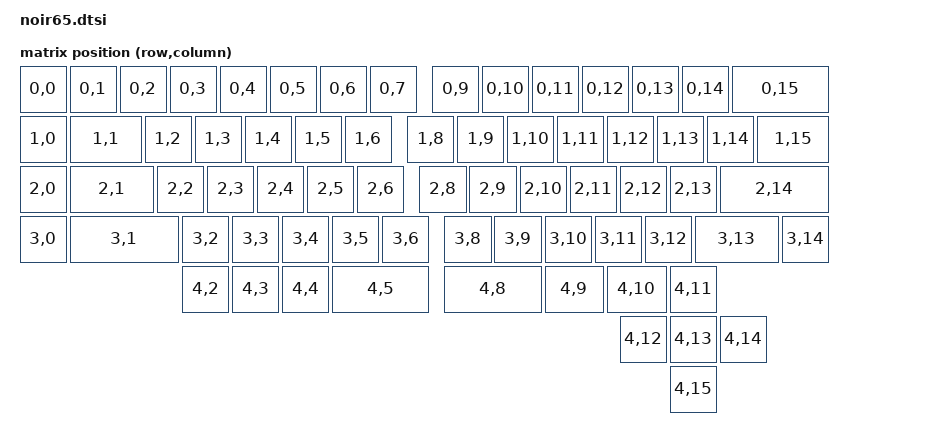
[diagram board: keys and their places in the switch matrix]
/*
 * Copyright (c) 2020 Noir Guo
 *
 * SPDX-License-Identifier: MIT
 */

#include <dt-bindings/zmk/matrix_transform.h>
#include <physical_layouts.dtsi>

/ {
    noir65_layout: noir65_layout {
        compatible = "zmk,physical-layout";
        display-name = "Noir65";

        kscan = <&kscan0>;
        transform = <&matrix_transform0>;

        keys  //                     w   h    x    y     rot    rx    ry
            = <&key_physical_attrs 100 100    0    0       0     0     0>
            , <&key_physical_attrs 100 100  100    0       0     0     0>
            , <&key_physical_attrs 100 100  200    0       0     0     0>
            , <&key_physical_attrs 100 100  300    0       0     0     0>
            , <&key_physical_attrs 100 100  400    0       0     0     0>
            , <&key_physical_attrs 100 100  500    0       0     0     0>
            , <&key_physical_attrs 100 100  600    0       0     0     0>
            , <&key_physical_attrs 100 100  700    0       0     0     0>
            , <&key_physical_attrs 100 100  825    0       0     0     0>
            , <&key_physical_attrs 100 100  925    0       0     0     0>
            , <&key_physical_attrs 100 100 1025    0       0     0     0>
            , <&key_physical_attrs 100 100 1125    0       0     0     0>
            , <&key_physical_attrs 100 100 1225    0       0     0     0>
            , <&key_physical_attrs 100 100 1325    0       0     0     0>
            , <&key_physical_attrs 200 100 1425    0       0     0     0>
            , <&key_physical_attrs 100 100    0  100       0     0     0>
            , <&key_physical_attrs 150 100  100  100       0     0     0>
            , <&key_physical_attrs 100 100  250  100       0     0     0>
            , <&key_physical_attrs 100 100  350  100       0     0     0>
            , <&key_physical_attrs 100 100  450  100       0     0     0>
            , <&key_physical_attrs 100 100  550  100       0     0     0>
            , <&key_physical_attrs 100 100  650  100       0     0     0>
            , <&key_physical_attrs 100 100  775  100       0     0     0>
            , <&key_physical_attrs 100 100  875  100       0     0     0>
            , <&key_physical_attrs 100 100  975  100       0     0     0>
            , <&key_physical_attrs 100 100 1075  100       0     0     0>
            , <&key_physical_attrs 100 100 1175  100       0     0     0>
            , <&key_physical_attrs 100 100 1275  100       0     0     0>
            , <&key_physical_attrs 100 100 1375  100       0     0     0>
            , <&key_physical_attrs 150 100 1475  100       0     0     0>
            , <&key_physical_attrs 100 100    0  200       0     0     0>
            , <&key_physical_attrs 175 100  100  200       0     0     0>
            , <&key_physical_attrs 100 100  275  200       0     0     0>
            , <&key_physical_attrs 100 100  375  200       0     0     0>
            , <&key_physical_attrs 100 100  475  200       0     0     0>
            , <&key_physical_attrs 100 100  575  200       0     0     0>
            , <&key_physical_attrs 100 100  675  200       0     0     0>
            , <&key_physical_attrs 100 100  800  200       0     0     0>
            , <&key_physical_attrs 100 100  900  200       0     0     0>
            , <&key_physical_attrs 100 100 1000  200       0     0     0>
            , <&key_physical_attrs 100 100 1100  200       0     0     0>
            , <&key_physical_attrs 100 100 1200  200       0     0     0>
            , <&key_physical_attrs 100 100 1300  200       0     0     0>
            , <&key_physical_attrs 225 100 1400  200       0     0     0>
            , <&key_physical_attrs 100 100    0  300       0     0     0>
            , <&key_physical_attrs 225 100  100  300       0     0     0>
            , <&key_physical_attrs 100 100  325  300       0     0     0>
            , <&key_physical_attrs 100 100  425  300       0     0     0>
            , <&key_physical_attrs 100 100  525  300       0     0     0>
            , <&key_physical_attrs 100 100  625  300       0     0     0>
            , <&key_physical_attrs 100 100  725  300       0     0     0>
            , <&key_physical_attrs 100 100  850  300       0     0     0>
            , <&key_physical_attrs 100 100  950  300       0     0     0>
            , <&key_physical_attrs 100 100 1050  300       0     0     0>
            , <&key_physical_attrs 100 100 1150  300       0     0     0>
            , <&key_physical_attrs 100 100 1250  300       0     0     0>
            , <&key_physical_attrs 175 100 1350  300       0     0     0>
            , <&key_physical_attrs 100 100 1525  300       0     0     0>
            , <&key_physical_attrs 100 100  325  400       0     0     0>
            , <&key_physical_attrs 100 100  425  400       0     0     0>
            , <&key_physical_attrs 100 100  525  400       0     0     0>
            , <&key_physical_attrs 200 100  625  400       0     0     0>
            , <&key_physical_attrs 200 100  850  400       0     0     0>
            , <&key_physical_attrs 125 100 1050  400       0     0     0>
            , <&key_physical_attrs 125 100 1175  400       0     0     0>
            , <&key_physical_attrs 100 100 1300  400       0     0     0>
            , <&key_physical_attrs 100 100 1200  500       0     0     0>
            , <&key_physical_attrs 100 100 1300  500       0     0     0>
            , <&key_physical_attrs 100 100 1400  500       0     0     0>
            , <&key_physical_attrs 100 100 1300  600       0     0     0>
            ;
    };
};

/ {
    chosen {
        zmk,physical-layouts = &noir65_layout;
    };

    default_transform: keymap_transform_0 {
        compatible = "zmk,matrix-transform";
        columns = <16>;
        rows = <5>;

        map = <
   RC(0,0) RC(0,1) RC(0,2) RC(0,3) RC(0,4) RC(0,5) RC(0,6) RC(0,7)                 RC(0,9) RC(0,10) RC(0,11) RC(0,12) RC(0,13) RC(0,14) RC(0,15)
   RC(1,0) RC(1,1) RC(1,2) RC(1,3) RC(1,4) RC(1,5) RC(1,6)                 RC(1,8) RC(1,9) RC(1,10) RC(1,11) RC(1,12) RC(1,13) RC(1,14) RC(1,15)
   RC(2,0) RC(2,1) RC(2,2) RC(2,3) RC(2,4) RC(2,5) RC(2,6)                 RC(2,8) RC(2,9) RC(2,10) RC(2,11) RC(2,12) RC(2,13) RC(2,14)
   RC(3,0) RC(3,1) RC(3,2) RC(3,3) RC(3,4) RC(3,5) RC(3,6)                 RC(3,8) RC(3,9) RC(3,10) RC(3,11) RC(3,12) RC(3,13) RC(3,14)
                           RC(4,2) RC(4,3) RC(4,4) RC(4,5)                 RC(4,8) RC(4,9) RC(4,10) RC(4,11) RC(4,12) RC(4,13) RC(4,14) RC(4,15)

        >;
    };


};

&noir65_layout{

	transform = <&default_transform>;

	kscan = <&kscan0>;

};



zephyr_udc0: &usbd { 

    compatible = "nordic,nrf-usbd"; 

    status = "okay"; 

};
